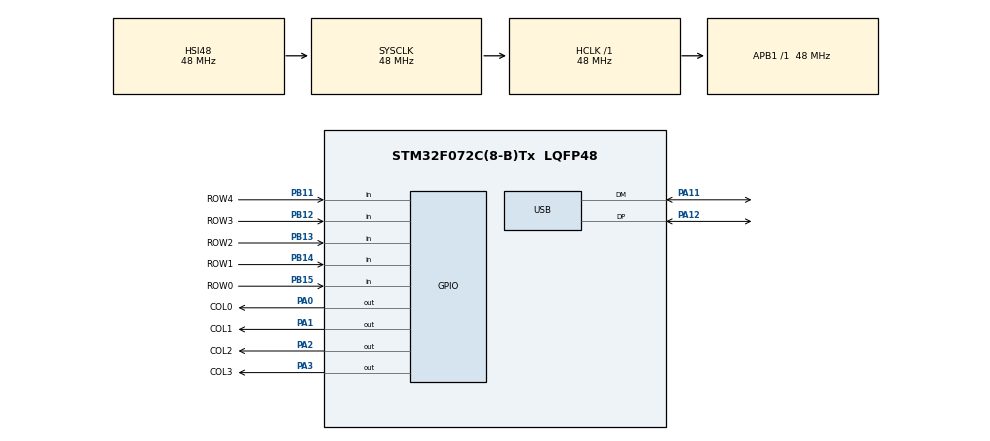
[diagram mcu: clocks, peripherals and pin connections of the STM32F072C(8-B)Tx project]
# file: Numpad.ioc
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Mcu.Family=STM32F0
Mcu.Name=STM32F072C(8-B)Tx
Mcu.Package=LQFP48
NVIC.USB_IRQn=true\:0\:0\:false\:false\:true\:false\:true
PA0.GPIO_Label=COL0
PA0.Signal=GPIO_Output
PA1.GPIO_Label=COL1
PA1.Signal=GPIO_Output
PA11.Mode=Device
PA11.Signal=USB_DM
PA12.Mode=Device
PA12.Signal=USB_DP
PA13.Mode=Serial_Wire
PA13.Signal=SYS_SWDIO
PA14.Mode=Serial_Wire
PA14.Signal=SYS_SWCLK
PA2.GPIO_Label=COL2
PA2.Signal=GPIO_Output
PA3.GPIO_Label=COL3
PA3.Signal=GPIO_Output
PB11.GPIO_Label=ROW4
PB11.GPIO_Mode=GPIO_MODE_INPUT
PB11.GPIO_PuPd=GPIO_PULLDOWN
PB11.Signal=GPIO_Input
PB12.GPIO_Label=ROW3
PB12.GPIO_Mode=GPIO_MODE_INPUT
PB12.GPIO_PuPd=GPIO_PULLDOWN
PB12.Signal=GPIO_Input
PB13.GPIO_Label=ROW2
PB13.GPIO_Mode=GPIO_MODE_INPUT
PB13.GPIO_PuPd=GPIO_PULLDOWN
PB13.Signal=GPIO_Input
PB14.GPIO_Label=ROW1
PB14.GPIO_Mode=GPIO_MODE_INPUT
PB14.GPIO_PuPd=GPIO_PULLDOWN
PB14.Signal=GPIO_Input
PB15.GPIO_Label=ROW0
PB15.GPIO_Mode=GPIO_MODE_INPUT
PB15.GPIO_PuPd=GPIO_PULLDOWN
PB15.Signal=GPIO_Input
ProjectManager.HeapSize=0x200
ProjectManager.StackSize=0x400
ProjectManager.TargetToolchain=STM32CubeIDE
RCC.AHBFreq_Value=48000000
RCC.APB1Freq_Value=48000000
RCC.APB1TimFreq_Value=48000000
RCC.HCLKFreq_Value=48000000
RCC.SYSCLKFreq_VALUE=48000000
RCC.SYSCLKSource=RCC_SYSCLKSOURCE_HSI48
USB_DEVICE.CLASS_NAME_FS=HID
USB_DEVICE.PRODUCT_STRING_HID_FS=Wykurwisty Numpad
USB_DEVICE.USBD_SELF_POWERED=0
USB_DEVICE.VirtualMode=Hid
USB_DEVICE.VirtualModeFS=Hid_FS
VP_USB_DEVICE_VS_USB_DEVICE_HID_FS.Mode=HID_FS
board=custom

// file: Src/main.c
/* USER CODE BEGIN Header */
/**
  ******************************************************************************
  * @file           : main.c
  * @brief          : Main program body
  ******************************************************************************
  * @attention
  *
  * <h2><center>&copy; Copyright (c) 2020 STMicroelectronics.
  * All rights reserved.</center></h2>
  *
  * This software component is licensed by ST under BSD 3-Clause license,
  * the "License"; You may not use this file except in compliance with the
  * License. You may obtain a copy of the License at:
  *                        opensource.org/licenses/BSD-3-Clause
  *
  ******************************************************************************
  */
/* USER CODE END Header */

#include "main.h"
#include "usb_device.h"
#include "MatrixKeyboard.c"

/* USER CODE BEGIN PTD */
#define REPORT_SIZE	8
/* USER CODE END PTD */

void SystemClock_Config(void);
static void MX_GPIO_Init(void);
/* USER CODE BEGIN PFP */

extern USBD_HandleTypeDef hUsbDeviceFS;

/* USER CODE END PFP */

/* Private user code ---------------- -----------------------------------------*/
/* USER CODE BEGIN 0 */

void User_Key_Init()
{
	  __HAL_RCC_GPIOA_CLK_ENABLE();
	  __HAL_RCC_GPIOB_CLK_ENABLE();
	/*
	 * Rows
	 */
	GPIO_InitTypeDef keyGPIOStruct;
	keyGPIOStruct.Mode = GPIO_MODE_INPUT;
	keyGPIOStruct.Pull = GPIO_PULLDOWN;
	keyGPIOStruct.Pin = ROW4_Pin | ROW3_Pin | ROW2_Pin | ROW1_Pin | ROW0_Pin;
	HAL_GPIO_Init(ROWS_GPIO_Port, &keyGPIOStruct);

	/*
	 * Columns
	 */
	keyGPIOStruct.Mode = GPIO_MODE_OUTPUT_PP;
	keyGPIOStruct.Pull = GPIO_NOPULL;
	keyGPIOStruct.Pin = COL0_Pin | COL1_Pin | COL2_Pin | COL3_Pin;
	HAL_GPIO_Init(COLUMNS_GPIO_Port, &keyGPIOStruct);

}

void User_Key_Debounce(uint16_t time)
{
	HAL_Delay(time);
}

void User_Key_Write(uint8_t column, bool state)
{
	switch(column)
	{
		case 0:
		{
			HAL_GPIO_WritePin(COLUMNS_GPIO_Port, COL0_Pin, state);
			break;
		}
		case 1:
		{
			HAL_GPIO_WritePin(COLUMNS_GPIO_Port, COL1_Pin, state);
			break;
		}
		case 2:
		{
			HAL_GPIO_WritePin(COLUMNS_GPIO_Port, COL2_Pin, state);
			break;
		}
		case 3:
		{
			HAL_GPIO_WritePin(COLUMNS_GPIO_Port, COL3_Pin, state);
			break;
		}
		default:
		{
			break;
		}
	}
}

bool User_Key_Read(uint8_t row)
{
	bool state = false;

	switch(row)
	{
		case 0:
		{
			state = HAL_GPIO_ReadPin(ROWS_GPIO_Port, ROW0_Pin);
			break;
		}
		case 1:
		{
			state = HAL_GPIO_ReadPin(ROWS_GPIO_Port, ROW1_Pin);
			break;
		}
		case 2:
		{
			state = HAL_GPIO_ReadPin(ROWS_GPIO_Port, ROW2_Pin);
			break;
		}
		case 3:
		{
			state = HAL_GPIO_ReadPin(ROWS_GPIO_Port, ROW3_Pin);
			break;
		}
		case 4:
		{
			state = HAL_GPIO_ReadPin(ROWS_GPIO_Port, ROW4_Pin);
			break;
		}
		default:
		{
			break;
		}
	}

	return state;

}

void User_Key_HID_Init()
{
	MX_USB_DEVICE_Init();
}

uint8_t User_Key_HID_Send(uint8_t *report)
{
	USBD_HID_SendReport(&hUsbDeviceFS, report, REPORT_SIZE);
}
/* USER CODE END 0 */

int main(void)
{
  /* USER CODE BEGIN 1 */
	keyboard_gpio_config_t keyGpioInit;
	keyboard_hid_config_t hidInit;
	pressed_keys_array_t keysArray;
	uint8_t pressedKeysNumber = 0;
	uint8_t temporaryReport[REPORT_SIZE] = {0};
  /* USER CODE END 1 */

  /* MCU Configuration--------------------------------------------------------*/

  /* Reset of all peripherals, Initializes the Flash interface and the Systick. */
  HAL_Init();

  /* Configure the system clock */
  SystemClock_Config();

  /* Initialize all configured peripherals */

  /* USER CODE BEGIN 2 */
  keyGpioInit.keyboardGPIOInitFunction = User_Key_Init;
  keyGpioInit.keyboardDebounceFunction = User_Key_Debounce;
  keyGpioInit.keyboardGPIOReadFunction = User_Key_Read;
  keyGpioInit.keyboardGPIOWriteFunction = User_Key_Write;

  hidInit.keyboardHIDInit = User_Key_HID_Init;
  hidInit.keyboardHIDSend = User_Key_HID_Send;

  Keyboard_GPIO_Init(&keyGpioInit);
  Keyboard_HID_Init(&hidInit);
  /* USER CODE END 2 */

  /* Infinite loop */
  while (1)
  {
    /* USER CODE BEGIN 3 */
	  pressedKeysNumber = Keyboard_Matrix_Read(&keysArray);
	  for(uint8_t cnt = 0; cnt < REPORT_SIZE; cnt++)
	  {
		  temporaryReport[cnt+2] = keysArray.actualArray[cnt];
	  }
	  Keyboard_HID_Send(temporaryReport);

  }
  /* USER CODE END 3 */
}

void SystemClock_Config(void)
{
  RCC_OscInitTypeDef RCC_OscInitStruct = {0};
  RCC_ClkInitTypeDef RCC_ClkInitStruct = {0};
  RCC_PeriphCLKInitTypeDef PeriphClkInit = {0};

  /** Initializes the CPU, AHB and APB busses clocks
  */
  RCC_OscInitStruct.OscillatorType = RCC_OSCILLATORTYPE_HSI48;
  RCC_OscInitStruct.HSI48State = RCC_HSI48_ON;
  RCC_OscInitStruct.PLL.PLLState = RCC_PLL_NONE;
  if (HAL_RCC_OscConfig(&RCC_OscInitStruct) != HAL_OK)
  {
    Error_Handler();
  }
  /** Initializes the CPU, AHB and APB busses clocks
  */
  RCC_ClkInitStruct.ClockType = RCC_CLOCKTYPE_HCLK|RCC_CLOCKTYPE_SYSCLK
                              |RCC_CLOCKTYPE_PCLK1;
  RCC_ClkInitStruct.SYSCLKSource = RCC_SYSCLKSOURCE_HSI48;
  RCC_ClkInitStruct.AHBCLKDivider = RCC_SYSCLK_DIV1;
  RCC_ClkInitStruct.APB1CLKDivider = RCC_HCLK_DIV1;

  if (HAL_RCC_ClockConfig(&RCC_ClkInitStruct, FLASH_LATENCY_1) != HAL_OK)
  {
    Error_Handler();
  }
  PeriphClkInit.PeriphClockSelection = RCC_PERIPHCLK_USB;
  PeriphClkInit.UsbClockSelection = RCC_USBCLKSOURCE_HSI48;

  if (HAL_RCCEx_PeriphCLKConfig(&PeriphClkInit) != HAL_OK)
  {
    Error_Handler();
  }
}

static void MX_GPIO_Init(void)
{
  GPIO_InitTypeDef GPIO_InitStruct = {0};

  /* GPIO Ports Clock Enable */
  __HAL_RCC_GPIOA_CLK_ENABLE();
  __HAL_RCC_GPIOB_CLK_ENABLE();

  /*Configure GPIO pin Output Level */
  HAL_GPIO_WritePin(GPIOA, COL0_Pin|COL1_Pin|COL2_Pin|COL3_Pin, GPIO_PIN_RESET);

  /*Configure GPIO pins : COL0_Pin COL1_Pin COL2_Pin COL3_Pin */
  GPIO_InitStruct.Pin = COL0_Pin|COL1_Pin|COL2_Pin|COL3_Pin;
  GPIO_InitStruct.Mode = GPIO_MODE_OUTPUT_PP;
  GPIO_InitStruct.Pull = GPIO_NOPULL;
  GPIO_InitStruct.Speed = GPIO_SPEED_FREQ_LOW;
  HAL_GPIO_Init(GPIOA, &GPIO_InitStruct);

  /*Configure GPIO pins : ROW4_Pin ROW3_Pin ROW2_Pin ROW1_Pin
                           ROW0_Pin */
  GPIO_InitStruct.Pin = ROW4_Pin|ROW3_Pin|ROW2_Pin|ROW1_Pin
                          |ROW0_Pin;
  GPIO_InitStruct.Mode = GPIO_MODE_INPUT;
  GPIO_InitStruct.Pull = GPIO_PULLDOWN;
  HAL_GPIO_Init(GPIOB, &GPIO_InitStruct);

}

void Error_Handler(void)
{
}

/************************ (C) COPYRIGHT STMicroelectronics *****END OF FILE****/
